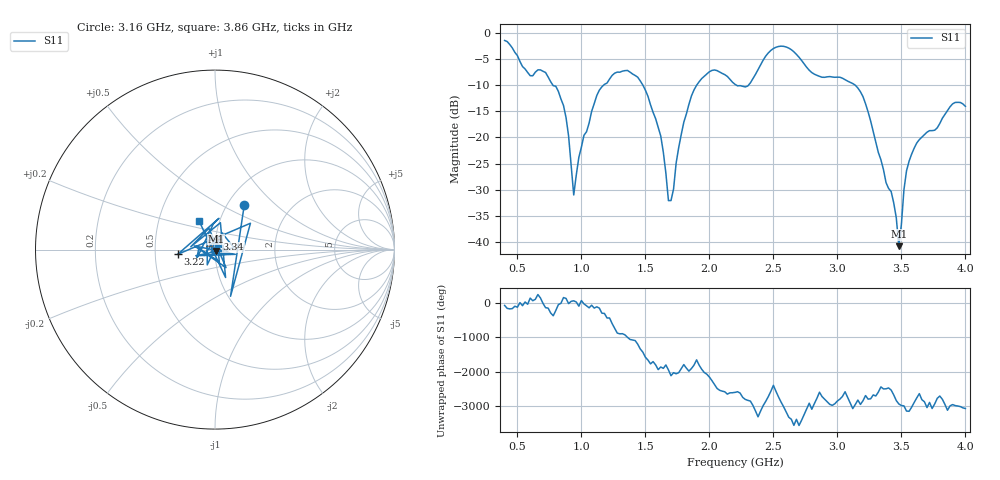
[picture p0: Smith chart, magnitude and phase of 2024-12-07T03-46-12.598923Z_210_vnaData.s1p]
!Created with skrf (http://scikit-rf.org).
# Hz S RI R 50.0
!freq ReS11 ImS11
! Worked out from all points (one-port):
!   181 points, 400 MHz to 4 GHz, reference 50 ohm
!   lowest |S11| = -40.8 dB at 3.48 GHz (marker M1), VSWR 1.02, Z = 50.5 - j0.781 ohm
!   |S11| at or under -10 dB: 777.8 MHz to 1.173 GHz (394.9 MHz wide, 40.5 % of centre); 1.481 GHz to 1.9 GHz (419.3 MHz wide, 24.8 % of centre); 3.14 GHz to end of sweep (the widest 3 of 4)
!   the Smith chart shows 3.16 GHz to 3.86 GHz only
!   S11 on the Smith chart (normalised r, x): 3.16 GHz: 1.20, +0.65; 3.22 GHz: 0.65, -0.04; 3.34 GHz: 1.01, +0.12; 3.86 GHz: 0.80, +0.26
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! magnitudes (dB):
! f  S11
! 400 MHz  -1.4
! 860 MHz  -13.9
! 900 MHz  -19.7
! 940 MHz  -31.0
! 980 MHz  -23.8
! 1.12 GHz  -12.0
! 1.3 GHz  -7.5
! 1.52 GHz  -12.1
! 1.62 GHz  -19.7
! 1.68 GHz  -32.1
! 1.72 GHz  -29.9
! 1.76 GHz  -21.9
! 1.86 GHz  -12.0
! 1.94 GHz  -8.7
! 2.2 GHz  -9.8
! 2.3 GHz  -10.1
! 2.5 GHz  -3.0
! 2.66 GHz  -3.6
! 3.1 GHz  -9.4
! 3.16 GHz  -10.5
! 3.22 GHz  -13.5
! 3.34 GHz  -24.3
! 3.44 GHz  -32.5
! 3.48 GHz  -40.8
! 3.52 GHz  -30.0
! 3.56 GHz  -24.5
! 3.86 GHz  -14.9
! 4 GHz  -14.0
